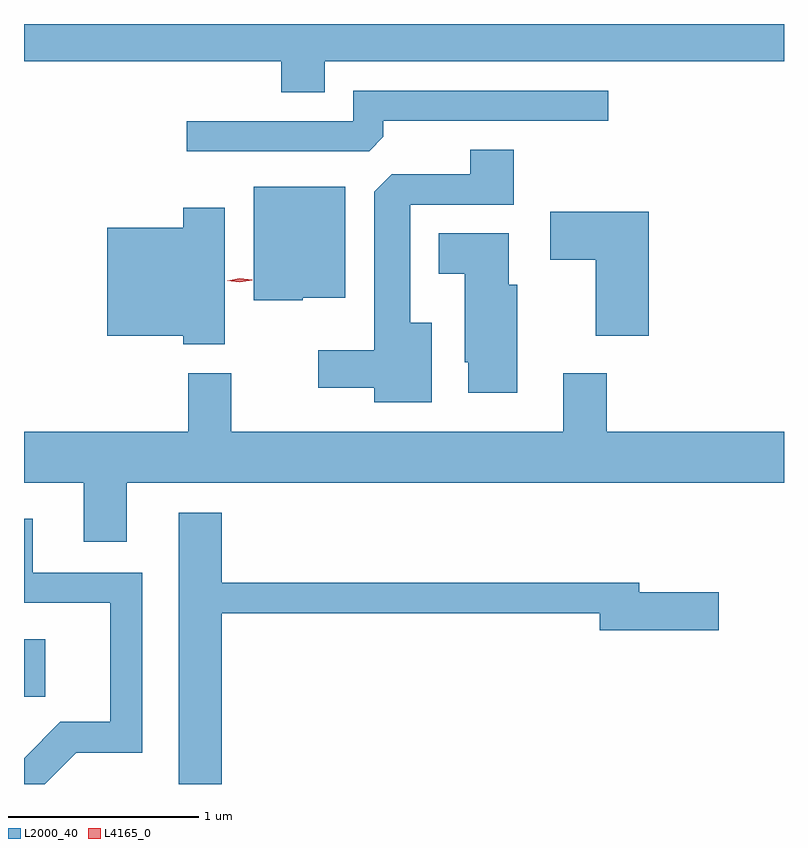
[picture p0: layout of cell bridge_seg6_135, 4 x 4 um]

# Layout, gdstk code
import gdstk
lib = gdstk.Library(unit=1e-6, precision=1e-09)
def R(c, l, rs):  # rectangles x0, y0, x1, y1
    for r in rs: c.add(gdstk.rectangle(r[:2], r[2:], *l))
def P(c, l, *ps):  # polygons
    for p in ps: c.add(gdstk.Polygon(p, *l))
L2000_40 = (2000, 40)
L4165_0 = (4165, 0)

bridge_seg6_135 = lib.new_cell('bridge_seg6_135')
R(bridge_seg6_135, L2000_40, [(1216.417,1611.071,1216.529,1611.374)])
P(bridge_seg6_135, L2000_40, [(1217.999,1614.416),(1220.417,1614.416),(1220.417,1614.611),(1216.417,1614.611),(1216.417,1614.416),(1217.771,1614.416),(1217.771,1614.251),(1217.999,1614.251)],
  [(1218.309,1614.017),(1218.309,1614.101),(1219.493,1614.101),(1219.493,1614.259),(1218.151,1614.259),(1218.151,1614.099),(1217.273,1614.099),(1217.273,1613.941),(1218.234,1613.941)],
  [(1218.564,1613.039),(1218.449,1613.039),(1218.449,1613.661),(1218.994,1613.661),(1218.994,1613.949),(1218.766,1613.949),(1218.766,1613.819),(1218.352,1613.819),(1218.261,1613.729),(1218.261,1612.894),(1217.966,1612.894),(1217.966,1612.696),(1218.261,1612.696),(1218.261,1612.621),(1218.564,1612.621)],
  [(1217.885,1613.171),(1218.109,1613.171),(1218.109,1613.754),(1217.626,1613.754),(1217.626,1613.156),(1217.885,1613.156)],
  [(1217.474,1613.644),(1217.256,1613.644),(1217.256,1613.539),(1216.856,1613.539),(1216.856,1612.971),(1217.256,1612.971),(1217.256,1612.926),(1217.474,1612.926)],
  [(1219.704,1613.624),(1219.186,1613.624),(1219.186,1613.371),(1219.426,1613.371),(1219.426,1612.971),(1219.704,1612.971)],
  [(1219.014,1613.239),(1218.969,1613.239),(1218.969,1613.509),(1218.601,1613.509),(1218.601,1613.296),(1218.736,1613.296),(1218.736,1612.831),(1218.756,1612.831),(1218.756,1612.671),(1219.014,1612.671)],
  [(1216.959,1612.196),(1220.417,1612.196),(1220.417,1612.464),(1219.484,1612.464),(1219.484,1612.774),(1219.256,1612.774),(1219.256,1612.464),(1217.509,1612.464),(1217.509,1612.774),(1217.281,1612.774),(1217.281,1612.464),(1216.417,1612.464),(1216.417,1612.196),(1216.731,1612.196),(1216.731,1611.886),(1216.959,1611.886)],
  [(1217.459,1611.511),(1219.446,1611.511),(1219.446,1611.421),(1220.074,1611.421),(1220.074,1611.619),(1219.654,1611.619),(1219.654,1611.669),(1217.459,1611.669),(1217.459,1612.039),(1217.231,1612.039),(1217.231,1610.611),(1217.459,1610.611)],
  [(1216.692,1610.776),(1217.039,1610.776),(1217.039,1611.724),(1216.464,1611.724),(1216.464,1612.008),(1216.417,1612.008),(1216.417,1611.566),(1216.871,1611.566),(1216.871,1610.939),(1216.609,1610.939),(1216.417,1610.747),(1216.417,1610.611),(1216.526,1610.611)])
P(bridge_seg6_135, L4165_0, [(1217.552,1613.252),(1217.486,1613.26),(1217.485,1613.261),(1217.486,1613.261),(1217.552,1613.272),(1217.618,1613.264),(1217.618,1613.264),(1217.618,1613.263)])

lib.write_gds('bridge_seg6_135.gds')
